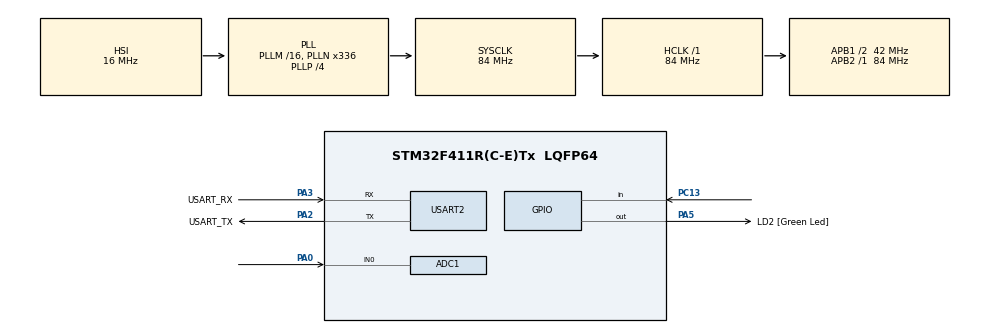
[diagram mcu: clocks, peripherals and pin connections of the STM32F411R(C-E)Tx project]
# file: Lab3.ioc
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ADC1.Channel-0\#ChannelRegularConversion=ADC_CHANNEL_0
ADC1.NbrOfConversionFlag=1
ADC1.Rank-0\#ChannelRegularConversion=1
ADC1.SamplingTime-0\#ChannelRegularConversion=ADC_SAMPLETIME_3CYCLES
ADC1.master=1
Mcu.Family=STM32F4
Mcu.Name=STM32F411R(C-E)Tx
Mcu.Package=LQFP64
NVIC.PriorityGroup=NVIC_PRIORITYGROUP_0
PA0-WKUP.Signal=ADCx_IN0
PA13.GPIO_Label=TMS
PA13.Mode=Serial_Wire
PA13.Signal=SYS_JTMS-SWDIO
PA14.GPIO_Label=TCK
PA14.Mode=Serial_Wire
PA14.Signal=SYS_JTCK-SWCLK
PA2.GPIO_Label=USART_TX
PA2.Mode=Asynchronous
PA2.Signal=USART2_TX
PA3.GPIO_Label=USART_RX
PA3.Mode=Asynchronous
PA3.Signal=USART2_RX
PA5.GPIO_Label=LD2 [Green Led]
PA5.Signal=GPIO_Output
PB3.GPIO_Label=SWO
PB3.Signal=SYS_JTDO-SWO
PC13-ANTI_TAMP.Signal=GPIO_Input
PC14-OSC32_IN.Mode=LSE-External-Oscillator
PC14-OSC32_IN.Signal=RCC_OSC32_IN
PC15-OSC32_OUT.Mode=LSE-External-Oscillator
PC15-OSC32_OUT.Signal=RCC_OSC32_OUT
PH0\ -\ OSC_IN.Mode=HSE-External-Clock-Source
PH0\ -\ OSC_IN.Signal=RCC_OSC_IN
PH1\ -\ OSC_OUT.Mode=HSE-External-Clock-Source
PH1\ -\ OSC_OUT.Signal=RCC_OSC_OUT
ProjectManager.HeapSize=0x200
ProjectManager.StackSize=0x400
ProjectManager.TargetToolchain=STM32CubeIDE
RCC.48MHZClocksFreq_Value=84000000
RCC.AHBFreq_Value=84000000
RCC.APB1CLKDivider=RCC_HCLK_DIV2
RCC.APB1Freq_Value=42000000
RCC.APB1TimFreq_Value=84000000
RCC.APB2Freq_Value=84000000
RCC.APB2TimFreq_Value=84000000
RCC.CortexFreq_Value=84000000
RCC.FLatency-AdvancedSettings=FLASH_LATENCY_2
RCC.HCLKFreq_Value=84000000
RCC.HSE_VALUE=8000000
RCC.HSI_VALUE=16000000
RCC.PLLN=336
RCC.PLLP=RCC_PLLP_DIV4
RCC.SYSCLKFreq_VALUE=84000000
RCC.SYSCLKSource=RCC_SYSCLKSOURCE_PLLCLK
RCC.VCOOutputFreq_Value=336000000
SH.ADCx_IN0.0=ADC1_IN0,IN0
USART2.VirtualMode=VM_ASYNC
VP_ADC1_TempSens_Input.Mode=IN-TempSens
board=NUCLEO-F411RE

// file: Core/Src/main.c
/* USER CODE BEGIN Header */
/**
 ******************************************************************************
 * @file           : main.c
 * @brief          : Main program body
 ******************************************************************************
 * @attention
 *
 * <h2><center>&copy; Copyright (c) 2021 STMicroelectronics.
 * All rights reserved.</center></h2>
 *
 * This software component is licensed by ST under BSD 3-Clause license,
 * the "License"; You may not use this file except in compliance with the
 * License. You may obtain a copy of the License at:
 *                        opensource.org/licenses/BSD-3-Clause
 *
 ******************************************************************************
 */
/* USER CODE END Header */
#include "main.h"

ADC_HandleTypeDef hadc1;

UART_HandleTypeDef huart2;

/* USER CODE BEGIN PV */
uint16_t adcdata[2] = { 0 };

typedef struct {
	ADC_ChannelConfTypeDef Config;
	uint16_t Data;
} ADCStructure;

ADCStructure ADCChannel[3] = { 0 };
int ADCMode = 0;
float ADCOutputConverted = 0;
GPIO_PinState Switch[2] = {0};

/* USER CODE END PV */

void SystemClock_Config(void);
static void MX_GPIO_Init(void);
static void MX_USART2_UART_Init(void);
static void MX_ADC1_Init(void);
/* USER CODE BEGIN PFP */
void ADCPollingMethodInit();
void ADCPollingMethodUpdate();
/* USER CODE END PFP */

int main(void) {

	/* MCU Configuration--------------------------------------------------------*/

	/* Reset of all peripherals, Initializes the Flash interface and the Systick. */
	HAL_Init();

	/* Configure the system clock */
	SystemClock_Config();

	/* Initialize all configured peripherals */
	MX_GPIO_Init();
	MX_USART2_UART_Init();
	MX_ADC1_Init();
	/* USER CODE BEGIN 2 */

	ADCPollingMethodInit();

	/* USER CODE END 2 */

	/* Infinite loop */
	while (1)
	{

		/* USER CODE BEGIN 3 */
		ADCPollingMethodUpdate();
		Switch[0] = HAL_GPIO_ReadPin(GPIOC, GPIO_PIN_13);
		if (Switch[1] == GPIO_PIN_SET && Switch[0] == GPIO_PIN_RESET)
		{
			if (ADCMode == 0)
			{
				ADCMode = 1;
			}
			else
			{
				ADCMode = 0;
			}
		}
		Switch[1] = Switch[0];

		if (ADCMode == 0)
		{
			ADCOutputConverted = ((ADCChannel[0].Data * 3.3) / 4096) * 1000;
		}
		if (ADCMode == 1)
		{
			ADCOutputConverted = ((((ADCChannel[1].Data * 3.3) / 4096) - 0.76)
					/ (2.5/1000)) + 25;
		}

	}
	/* USER CODE END 3 */
}

void SystemClock_Config(void) {
	RCC_OscInitTypeDef RCC_OscInitStruct = { 0 };
	RCC_ClkInitTypeDef RCC_ClkInitStruct = { 0 };

	/** Configure the main internal regulator output voltage
	 */
	__HAL_RCC_PWR_CLK_ENABLE();
	__HAL_PWR_VOLTAGESCALING_CONFIG(PWR_REGULATOR_VOLTAGE_SCALE1);
	/** Initializes the RCC Oscillators according to the specified parameters
	 * in the RCC_OscInitTypeDef structure.
	 */
	RCC_OscInitStruct.OscillatorType = RCC_OSCILLATORTYPE_HSI;
	RCC_OscInitStruct.HSIState = RCC_HSI_ON;
	RCC_OscInitStruct.HSICalibrationValue = RCC_HSICALIBRATION_DEFAULT;
	RCC_OscInitStruct.PLL.PLLState = RCC_PLL_ON;
	RCC_OscInitStruct.PLL.PLLSource = RCC_PLLSOURCE_HSI;
	RCC_OscInitStruct.PLL.PLLM = 16;
	RCC_OscInitStruct.PLL.PLLN = 336;
	RCC_OscInitStruct.PLL.PLLP = RCC_PLLP_DIV4;
	RCC_OscInitStruct.PLL.PLLQ = 4;
	if (HAL_RCC_OscConfig(&RCC_OscInitStruct) != HAL_OK) {
		Error_Handler();
	} /** Initializes the CPU, AHB and APB buses clocks
	 */
	RCC_ClkInitStruct.ClockType = RCC_CLOCKTYPE_HCLK | RCC_CLOCKTYPE_SYSCLK
			| RCC_CLOCKTYPE_PCLK1 | RCC_CLOCKTYPE_PCLK2;
	RCC_ClkInitStruct.SYSCLKSource = RCC_SYSCLKSOURCE_PLLCLK;
	RCC_ClkInitStruct.AHBCLKDivider = RCC_SYSCLK_DIV1;
	RCC_ClkInitStruct.APB1CLKDivider = RCC_HCLK_DIV2;
	RCC_ClkInitStruct.APB2CLKDivider = RCC_HCLK_DIV1;

	if (HAL_RCC_ClockConfig(&RCC_ClkInitStruct, FLASH_LATENCY_2) != HAL_OK) {
		Error_Handler();
	}
}

static void MX_ADC1_Init(void) {

	ADC_ChannelConfTypeDef sConfig = { 0 };

	/** Configure the global features of the ADC (Clock, Resolution, Data Alignment and number of conversion)
	 */
	hadc1.Instance = ADC1;
	hadc1.Init.ClockPrescaler = ADC_CLOCK_SYNC_PCLK_DIV4;
	hadc1.Init.Resolution = ADC_RESOLUTION_12B;
	hadc1.Init.ScanConvMode = DISABLE;
	hadc1.Init.ContinuousConvMode = DISABLE;
	hadc1.Init.DiscontinuousConvMode = DISABLE;
	hadc1.Init.ExternalTrigConvEdge = ADC_EXTERNALTRIGCONVEDGE_NONE;
	hadc1.Init.ExternalTrigConv = ADC_SOFTWARE_START;
	hadc1.Init.DataAlign = ADC_DATAALIGN_RIGHT;
	hadc1.Init.NbrOfConversion = 1;
	hadc1.Init.DMAContinuousRequests = DISABLE;
	hadc1.Init.EOCSelection = ADC_EOC_SINGLE_CONV;
	if (HAL_ADC_Init(&hadc1) != HAL_OK) {
		Error_Handler();
	}
	/** Configure for the selected ADC regular channel its corresponding rank in the sequencer and its sample time.
	 */
	sConfig.Channel = ADC_CHANNEL_0;
	sConfig.Rank = 1;
	sConfig.SamplingTime = ADC_SAMPLETIME_3CYCLES;
	if (HAL_ADC_ConfigChannel(&hadc1, &sConfig) != HAL_OK) {
		Error_Handler();
	}

}

static void MX_USART2_UART_Init(void) {

	huart2.Instance = USART2;
	huart2.Init.BaudRate = 115200;
	huart2.Init.WordLength = UART_WORDLENGTH_8B;
	huart2.Init.StopBits = UART_STOPBITS_1;
	huart2.Init.Parity = UART_PARITY_NONE;
	huart2.Init.Mode = UART_MODE_TX_RX;
	huart2.Init.HwFlowCtl = UART_HWCONTROL_NONE;
	huart2.Init.OverSampling = UART_OVERSAMPLING_16;
	if (HAL_UART_Init(&huart2) != HAL_OK) {
		Error_Handler();
	}

}

static void MX_GPIO_Init(void) {
	GPIO_InitTypeDef GPIO_InitStruct = { 0 };

	/* GPIO Ports Clock Enable */
	__HAL_RCC_GPIOC_CLK_ENABLE();
	__HAL_RCC_GPIOH_CLK_ENABLE();
	__HAL_RCC_GPIOA_CLK_ENABLE();
	__HAL_RCC_GPIOB_CLK_ENABLE();

	/*Configure GPIO pin Output Level */
	HAL_GPIO_WritePin(LD2_GPIO_Port, LD2_Pin, GPIO_PIN_RESET);

	/*Configure GPIO pin : PC13 */
	GPIO_InitStruct.Pin = GPIO_PIN_13;
	GPIO_InitStruct.Mode = GPIO_MODE_INPUT;
	GPIO_InitStruct.Pull = GPIO_NOPULL;
	HAL_GPIO_Init(GPIOC, &GPIO_InitStruct);

	/*Configure GPIO pin : LD2_Pin */
	GPIO_InitStruct.Pin = LD2_Pin;
	GPIO_InitStruct.Mode = GPIO_MODE_OUTPUT_PP;
	GPIO_InitStruct.Pull = GPIO_NOPULL;
	GPIO_InitStruct.Speed = GPIO_SPEED_FREQ_LOW;
	HAL_GPIO_Init(LD2_GPIO_Port, &GPIO_InitStruct);

}

/* USER CODE BEGIN 4 */
void ADCPollingMethodInit() {
	//config all ADC Channel
	ADCChannel[0].Config.Channel = ADC_CHANNEL_0;
	ADCChannel[0].Config.Rank = 1;
	ADCChannel[0].Config.SamplingTime = ADC_SAMPLETIME_3CYCLES;

	ADCChannel[1].Config.Channel = ADC_CHANNEL_TEMPSENSOR;
	ADCChannel[1].Config.Rank = 1;
	ADCChannel[1].Config.SamplingTime = ADC_SAMPLETIME_3CYCLES;
}
//Polling Method
void ADCPollingMethodUpdate() {
	//Read all 3 Channel
	for (int i = 0; i < 2; i++) {
		HAL_ADC_ConfigChannel(&hadc1, &ADCChannel[i].Config);
		HAL_ADC_Start(&hadc1);
		if (HAL_ADC_PollForConversion(&hadc1, 10) == HAL_OK) {
			ADCChannel[i].Data = HAL_ADC_GetValue(&hadc1);
		}
		HAL_ADC_Stop(&hadc1);
	}
}
/* USER CODE END 4 */

void Error_Handler(void) {
	__disable_irq();
	while (1) {
	}
}

/************************ (C) COPYRIGHT STMicroelectronics *****END OF FILE****/
